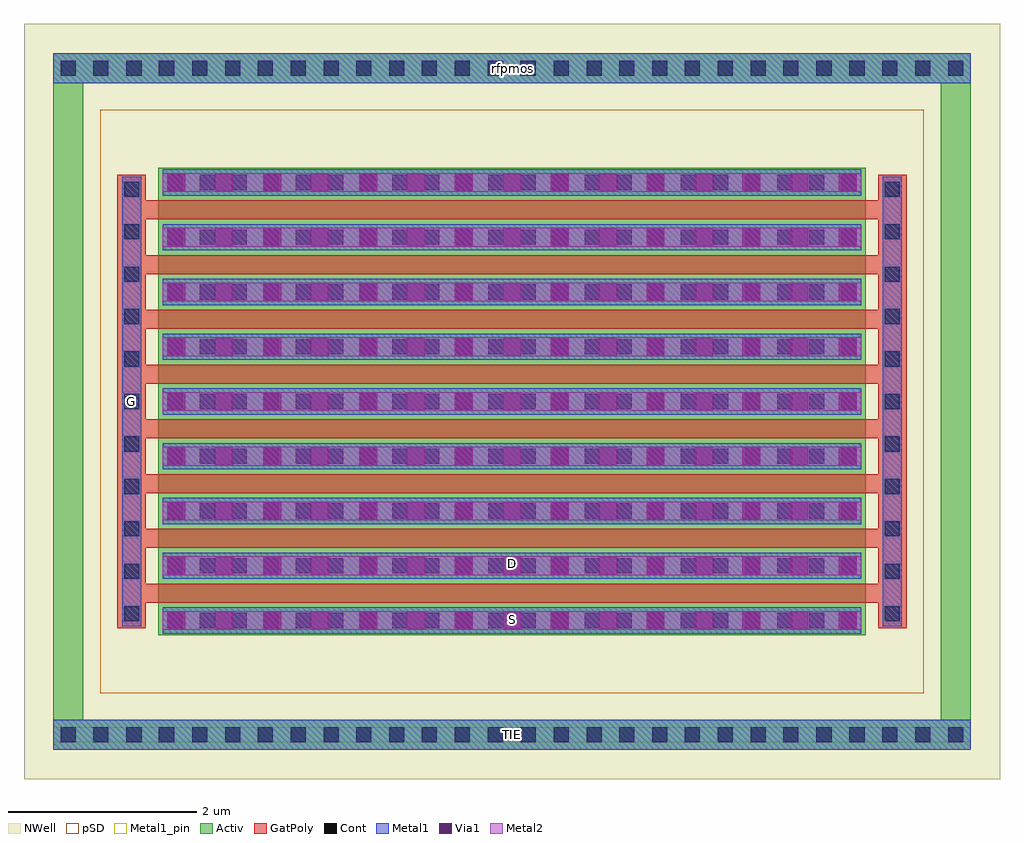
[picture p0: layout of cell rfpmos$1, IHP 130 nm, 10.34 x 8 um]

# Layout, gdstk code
import gdstk
lib = gdstk.Library(unit=1e-6, precision=5e-09)
def R(c, l, rs):  # rectangles x0, y0, x1, y1
    for r in rs: c.add(gdstk.rectangle(r[:2], r[2:], *l))
def A(c, l, x, y, w, h, nx, ny, dx, dy):  # array of equal rectangles
    R(c, l, [(x+i*dx, y+j*dy, x+i*dx+w, y+j*dy+h) for i in range(nx) for j in range(ny)])
def P(c, l, *ps):  # polygons
    for p in ps: c.add(gdstk.Polygon(p, *l))
Activ = (1, 0)
GatPoly = (5, 0)
Cont = (6, 0)
Metal1 = (8, 0)
Metal1_pin = (8, 2)
Metal2 = (10, 0)
pSD = (14, 0)
Via1 = (19, 0)
NWell = (31, 0)

rfpmos_1 = lib.new_cell('rfpmos$1')
R(rfpmos_1, Activ, [(1.42,1.525,8.92,6.475)])
P(rfpmos_1, Activ, [(0.31,0.31),(0.31,7.37),(0.63,7.37),(0.63,0.63),(9.71,0.63),(9.71,7.37),(0.31,7.37),(0.31,7.69),(10.03,7.69),(10.03,0.31)])
A(rfpmos_1, GatPoly, 1.29, 1.87, 7.76, 0.2, 1, 8, 0, 0.58)
R(rfpmos_1, GatPoly, [(0.99,1.6,1.29,6.4), (9.05,1.6,9.35,6.4)])
A(rfpmos_1, Cont, 1.43, 0.39, 0.16, 0.16, 3, 2, 0.35, 7.06)
A(rfpmos_1, Cont, 2.475, 0.39, 0.16, 0.16, 3, 2, 0.35, 7.06)
A(rfpmos_1, Cont, 4.215, 0.39, 0.16, 0.16, 3, 2, 0.35, 7.06)
A(rfpmos_1, Cont, 5.26, 0.39, 0.16, 0.16, 3, 2, 0.35, 7.06)
A(rfpmos_1, Cont, 7, 0.39, 0.16, 0.16, 3, 2, 0.35, 7.06)
A(rfpmos_1, Cont, 8.045, 0.39, 0.16, 0.16, 3, 2, 0.35, 7.06)
A(rfpmos_1, Cont, 9.09, 0.39, 0.16, 0.16, 3, 2, 0.35, 7.06)
A(rfpmos_1, Cont, 1.52, 1.6, 0.16, 0.16, 22, 9, 0.34, 0.58)
A(rfpmos_1, Cont, 1.06, 1.67, 0.16, 0.16, 1, 11, 0, 0.45)
A(rfpmos_1, Cont, 9.12, 1.67, 0.16, 0.16, 1, 11, 0, 0.45)
R(rfpmos_1, Cont, [(0.39,0.39,0.55,0.55), (0.735,0.39,0.895,0.55), (1.085,0.39,1.245,0.55), (3.52,0.39,3.68,0.55), (3.87,0.39,4.03,0.55), (6.305,0.39,6.465,0.55), (6.655,0.39,6.815,0.55), (0.39,7.45,0.55,7.61), (0.735,7.45,0.895,7.61), (1.085,7.45,1.245,7.61), (3.52,7.45,3.68,7.61), (3.87,7.45,4.03,7.61), (6.305,7.45,6.465,7.61), (6.655,7.45,6.815,7.61)])
A(rfpmos_1, Metal1, 1.47, 1.54, 7.4, 0.28, 1, 9, 0, 0.58)
R(rfpmos_1, Metal1, [(0.31,0.31,10.03,0.63), (1.04,1.62,1.24,6.38), (9.1,1.62,9.3,6.38), (0.31,7.37,10.03,7.69)])
R(rfpmos_1, Metal1_pin, [(0.31,0.39,10.03,0.55), (0.31,0.39,10.03,0.55), (1.47,1.54,8.87,1.82), (1.47,1.54,8.87,1.82), (1.04,1.62,1.24,6.38), (1.04,1.62,1.24,6.38), (1.47,2.12,8.87,2.4), (1.47,2.12,8.87,2.4)])
A(rfpmos_1, Metal2, 1.47, 1.58, 7.4, 0.2, 1, 9, 0, 0.58)
R(rfpmos_1, pSD, [(0.81,0.91,9.53,7.09)])
A(rfpmos_1, Via1, 1.52, 1.585, 0.19, 0.19, 1, 9, 0, 0.58)
A(rfpmos_1, Via1, 2.025, 1.585, 0.19, 0.19, 1, 9, 0, 0.58)
A(rfpmos_1, Via1, 2.535, 1.585, 0.19, 0.19, 1, 9, 0, 0.58)
A(rfpmos_1, Via1, 3.04, 1.585, 0.19, 0.19, 1, 9, 0, 0.58)
A(rfpmos_1, Via1, 3.55, 1.585, 0.19, 0.19, 1, 9, 0, 0.58)
A(rfpmos_1, Via1, 4.055, 1.585, 0.19, 0.19, 3, 9, 0.51, 0.58)
A(rfpmos_1, Via1, 5.58, 1.585, 0.19, 0.19, 1, 9, 0, 0.58)
A(rfpmos_1, Via1, 6.09, 1.585, 0.19, 0.19, 1, 9, 0, 0.58)
A(rfpmos_1, Via1, 6.595, 1.585, 0.19, 0.19, 1, 9, 0, 0.58)
A(rfpmos_1, Via1, 7.105, 1.585, 0.19, 0.19, 1, 9, 0, 0.58)
A(rfpmos_1, Via1, 7.61, 1.585, 0.19, 0.19, 3, 9, 0.51, 0.58)
R(rfpmos_1, NWell, [(0,0,10.34,8)])
rfpmos_1.add(gdstk.Label('S', (5.17,1.695), layer=63, texttype=0))
rfpmos_1.add(gdstk.Label('D', (5.17,2.28), layer=63, texttype=0))
rfpmos_1.add(gdstk.Label('G', (1.14,4), layer=63, texttype=0))
rfpmos_1.add(gdstk.Label('TIE', (5.17,0.47), layer=63, texttype=0))
rfpmos_1.add(gdstk.Label('rfpmos', (5.17,7.53), layer=63, texttype=0))

lib.write_gds('rfpmos_1.gds')
